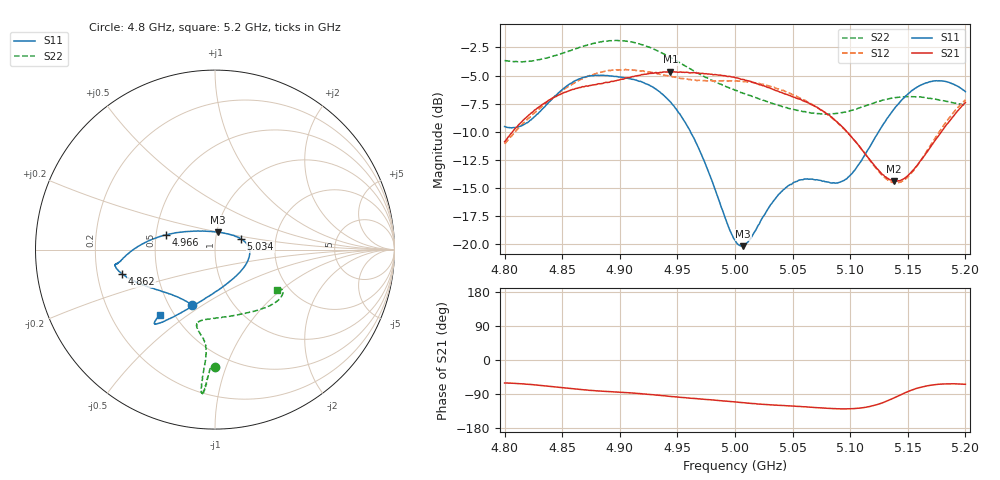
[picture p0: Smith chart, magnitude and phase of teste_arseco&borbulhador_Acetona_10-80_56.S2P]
! Network Analyzer HP8722D
! Hewlett-Packard
! Data name: Linha & Wilkinson
! Saver's name: Rodrigo Anjos
! Comments: Teste da utilização de aquisição
! continua pelo VNA HP8722D
! Time and date: 17/4/2025 14:49
!  Frequency  S11  S21  S12  S22
# HZ  S  MA R 50
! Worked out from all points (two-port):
!   401 points, 4.8 GHz to 5.2 GHz, reference 50 ohm
!   highest |S21| = -4.66 dB at 4.944 GHz (marker M1); lowest = -14.4 dB at 5.138 GHz (marker M2)
!   |S21| within 3 dB of the highest: 4.832 GHz to 5.068 GHz (236.2 MHz wide, 4.77 % of centre); 5.197639 GHz to end of sweep
!   lowest |S11| = -20.2 dB at 5.007 GHz (marker M3), VSWR 1.22, Z = 50.9 + j9.9 ohm
!   |S11| at or under -10 dB: 4.961 GHz to 5.125 GHz (163.4 MHz wide, 3.24 % of centre)
!   |S22| runs from -8.4 to -1.9 dB; largest |S21 - S12| = 0.88
!   S11 on the Smith chart (normalised r, x): 4.8 GHz: 0.65, -0.45; 4.862 GHz: 0.31, -0.12; 4.966 GHz: 0.57, +0.10; 5.034 GHz: 1.33, +0.16; 5.2 GHz: 0.42, -0.40
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4.8e9  0.3335 -112.9  0.2853 -60.7  0.2793 -175.0  0.6551 -89.9
4.819e9  0.3462 -132.9  0.3665 -63.8  0.3556 -173.2  0.6506 -91.5
4.838e9  0.4256 -150.8  0.4359 -69.1  0.4336 -173.5  0.6761 -92.6
4.862e9  0.535 -165.3  0.4928 -76.6  0.5268 -176.4  0.741 -93.7
4.867e9  0.5489 -167.3  0.5005 -78.1  0.5417 -177.5  0.755 -93.7
4.899e9  0.5535 -171.8  0.5361 -84.9  0.5951 175.8  0.8034 -95.2
4.934e9  0.4781 -177.8  0.5785 -93.3  0.5722 172.3  0.7188 -95.6
4.944e9  0.4291 177.6  0.585 -96.2  0.5575 172.0  0.6763 -95.4
4.966e9  0.2838 163.1  0.5777 -101.8  0.5357 173.9  0.5833 -94.8
5e9  0.1043 103.5  0.5506 -110.9  0.5312 176.4  0.4838 -99.1
5.007e9  0.09801 79.3  0.5402 -112.6  0.5287 176.3  0.4687 -100.8
5.034e9  0.157 22.3  0.4854 -119.0  0.4992 175.0  0.42 -103.7
5.05e9  0.1865 5.7  0.4527 -121.5  0.4617 174.3  0.3996 -99.7
5.067e9  0.1948 -12.4  0.4158 -124.8  0.4183 173.9  0.3828 -91.1
5.087e9  0.1867 -44.3  0.3551 -128.3  0.3541 173.5  0.3811 -75.8
5.097e9  0.1954 -65.0  0.3166 -128.9  0.3161 174.5  0.3884 -67.6
5.134e9  0.3739 -115.8  0.1939 -105.5  0.1907 -158.4  0.4435 -43.0
5.138e9  0.3985 -118.1  0.1908 -99.9  0.1872 -152.1  0.447 -41.1
5.151e9  0.4696 -124.0  0.2043 -82.2  0.2016 -131.8  0.4534 -36.3
5.17e9  0.5288 -128.4  0.2718 -66.5  0.2766 -112.7  0.4445 -31.8
5.184e9  0.5273 -129.8  0.3421 -63.0  0.3536 -107.1  0.4315 -30.9
5.2e9  0.4768 -130.2  0.4264 -64.1  0.439 -106.2  0.4148 -33.1
